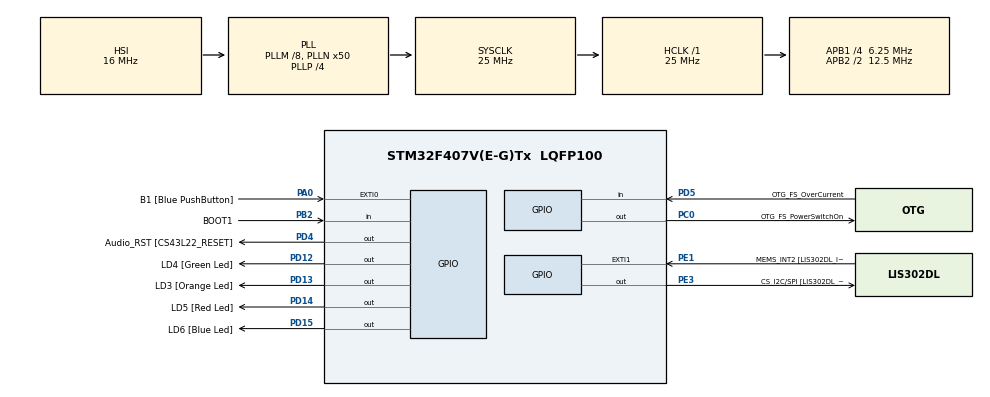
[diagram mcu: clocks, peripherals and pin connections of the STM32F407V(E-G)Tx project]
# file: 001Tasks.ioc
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Mcu.Family=STM32F4
Mcu.Name=STM32F407V(E-G)Tx
Mcu.Package=LQFP100
NVIC.PriorityGroup=NVIC_PRIORITYGROUP_4
NVIC.TIM6_DAC_IRQn=true\:0\:0\:false\:false\:true\:false\:true
NVIC.TimeBase=TIM6_DAC_IRQn
NVIC.TimeBaseIP=TIM6
PA0-WKUP.GPIO_Label=B1 [Blue PushButton]
PA0-WKUP.Signal=GPXTI0
PA10.GPIO_Label=OTG_FS_ID
PA10.GPIO_Mode=GPIO_MODE_AF_PP
PA10.GPIO_PuPd=GPIO_NOPULL
PA10.GPIO_Speed=GPIO_SPEED_FREQ_LOW
PA10.Signal=USB_OTG_FS_ID
PA11.GPIO_Label=OTG_FS_DM
PA11.GPIO_Mode=GPIO_MODE_AF_PP
PA11.GPIO_PuPd=GPIO_NOPULL
PA11.GPIO_Speed=GPIO_SPEED_FREQ_LOW
PA11.Signal=USB_OTG_FS_DM
PA12.GPIO_Label=OTG_FS_DP
PA12.GPIO_Mode=GPIO_MODE_AF_PP
PA12.GPIO_PuPd=GPIO_NOPULL
PA12.GPIO_Speed=GPIO_SPEED_FREQ_LOW
PA12.Signal=USB_OTG_FS_DP
PA13.GPIO_Label=SWDIO
PA13.Signal=SYS_JTMS-SWDIO
PA14.GPIO_Label=SWCLK
PA14.Signal=SYS_JTCK-SWCLK
PA4.GPIO_Label=I2S3_WS [CS43L22_LRCK]
PA4.GPIO_Mode=GPIO_MODE_AF_PP
PA4.GPIO_PuPd=GPIO_NOPULL
PA4.GPIO_Speed=GPIO_SPEED_FREQ_LOW
PA4.Signal=I2S3_WS
PA5.GPIO_Label=SPI1_SCK [LIS302DL_SCL/SPC]
PA5.GPIO_Mode=GPIO_MODE_AF_PP
PA5.GPIO_PuPd=GPIO_NOPULL
PA5.GPIO_Speed=GPIO_SPEED_FREQ_LOW
PA5.Signal=SPI1_SCK
PA6.GPIO_Label=SPI1_MISO [LIS302DL_SDO]
PA6.GPIO_Mode=GPIO_MODE_AF_PP
PA6.GPIO_PuPd=GPIO_NOPULL
PA6.GPIO_Speed=GPIO_SPEED_FREQ_LOW
PA6.Signal=SPI1_MISO
PA7.GPIO_Label=SPI1_MOSI [LIS302DL_SDA/SDI/SDO]
PA7.GPIO_Mode=GPIO_MODE_AF_PP
PA7.GPIO_PuPd=GPIO_NOPULL
PA7.GPIO_Speed=GPIO_SPEED_FREQ_LOW
PA7.Signal=SPI1_MOSI
PA9.GPIO_Label=VBUS_FS
PA9.GPIO_Mode=GPIO_MODE_INPUT
PA9.GPIO_PuPd=GPIO_NOPULL
PA9.Signal=USB_OTG_FS_VBUS
PB10.GPIO_Label=CLK_IN [MP45DT02_CLK]
PB10.GPIO_Mode=GPIO_MODE_AF_PP
PB10.GPIO_PuPd=GPIO_NOPULL
PB10.GPIO_Speed=GPIO_SPEED_FREQ_LOW
PB10.Signal=I2S2_CK
PB2.GPIO_Label=BOOT1
PB2.GPIO_Mode=GPIO_MODE_INPUT
PB2.GPIO_PuPd=GPIO_NOPULL
PB2.Signal=GPIO_Input
PB3.GPIO_Label=SWO
PB3.Signal=SYS_JTDO-SWO
PB6.GPIO_Label=Audio_SCL [CS43L22_SCL]
PB6.GPIO_Mode=GPIO_MODE_AF_OD
PB6.GPIO_PuPd=GPIO_NOPULL
PB6.GPIO_Speed=GPIO_SPEED_FREQ_LOW
PB6.Signal=I2C1_SCL
PB9.GPIO_Label=Audio_SDA [CS43L22_SDA]
PB9.GPIO_Mode=GPIO_MODE_AF_OD
PB9.GPIO_PuPd=GPIO_NOPULL
PB9.GPIO_Speed=GPIO_SPEED_FREQ_LOW
PB9.Signal=I2C1_SDA
PC0.GPIO_Label=OTG_FS_PowerSwitchOn
PC0.GPIO_PuPd=GPIO_NOPULL
PC0.GPIO_Speed=GPIO_SPEED_FREQ_LOW
PC0.PinState=GPIO_PIN_SET
PC0.Signal=GPIO_Output
PC10.GPIO_Label=I2S3_SCK [CS43L22_SCLK]
PC10.GPIO_Mode=GPIO_MODE_AF_PP
PC10.GPIO_PuPd=GPIO_NOPULL
PC10.GPIO_Speed=GPIO_SPEED_FREQ_LOW
PC10.Signal=I2S3_CK
PC12.GPIO_Label=I2S3_SD [CS43L22_SDIN]
PC12.GPIO_Mode=GPIO_MODE_AF_PP
PC12.GPIO_PuPd=GPIO_NOPULL
PC12.GPIO_Speed=GPIO_SPEED_FREQ_LOW
PC12.Signal=I2S3_SD
PC14-OSC32_IN.GPIO_Label=PC14-OSC32_IN
PC14-OSC32_IN.Signal=RCC_OSC32_IN
PC15-OSC32_OUT.GPIO_Label=PC15-OSC32_OUT
PC15-OSC32_OUT.Signal=RCC_OSC32_OUT
PC3.GPIO_Label=PDM_OUT [MP45DT02_DOUT]
PC3.GPIO_Mode=GPIO_MODE_AF_PP
PC3.GPIO_PuPd=GPIO_NOPULL
PC3.GPIO_Speed=GPIO_SPEED_FREQ_LOW
PC3.Signal=I2S2_SD
PC7.GPIO_Label=I2S3_MCK [CS43L22_MCLK]
PC7.GPIO_Mode=GPIO_MODE_AF_PP
PC7.GPIO_PuPd=GPIO_NOPULL
PC7.GPIO_Speed=GPIO_SPEED_FREQ_LOW
PC7.Signal=I2S3_MCK
PD12.GPIO_Label=LD4 [Green Led]
PD12.GPIO_PuPd=GPIO_NOPULL
PD12.GPIO_Speed=GPIO_SPEED_FREQ_LOW
PD12.Signal=GPIO_Output
PD13.GPIO_Label=LD3 [Orange Led]
PD13.GPIO_PuPd=GPIO_NOPULL
PD13.GPIO_Speed=GPIO_SPEED_FREQ_LOW
PD13.Signal=GPIO_Output
PD14.GPIO_Label=LD5 [Red Led]
PD14.GPIO_PuPd=GPIO_NOPULL
PD14.GPIO_Speed=GPIO_SPEED_FREQ_LOW
PD14.Signal=GPIO_Output
PD15.GPIO_Label=LD6 [Blue Led]
PD15.GPIO_PuPd=GPIO_NOPULL
PD15.GPIO_Speed=GPIO_SPEED_FREQ_LOW
PD15.Signal=GPIO_Output
PD4.GPIO_Label=Audio_RST [CS43L22_RESET]
PD4.GPIO_PuPd=GPIO_NOPULL
PD4.GPIO_Speed=GPIO_SPEED_FREQ_LOW
PD4.Signal=GPIO_Output
PD5.GPIO_Label=OTG_FS_OverCurrent
PD5.GPIO_Mode=GPIO_MODE_INPUT
PD5.GPIO_PuPd=GPIO_NOPULL
PD5.Signal=GPIO_Input
PE1.GPIO_Label=MEMS_INT2 [LIS302DL_INT2]
PE1.GPIO_ModeDefaultEXTI=GPIO_MODE_EVT_RISING
PE1.GPIO_PuPd=GPIO_NOPULL
PE1.Signal=GPXTI1
PE3.GPIO_Label=CS_I2C/SPI [LIS302DL_CS_I2C/SPI]
PE3.GPIO_PuPd=GPIO_NOPULL
PE3.GPIO_Speed=GPIO_SPEED_FREQ_LOW
PE3.Signal=GPIO_Output
PH0-OSC_IN.GPIO_Label=PH0-OSC_IN
PH0-OSC_IN.Signal=RCC_OSC_IN
PH1-OSC_OUT.GPIO_Label=PH1-OSC_OUT
PH1-OSC_OUT.Signal=RCC_OSC_OUT
ProjectManager.HeapSize=0x200
ProjectManager.StackSize=0x400
ProjectManager.TargetToolchain=STM32CubeIDE
RCC.48MHZClocksFreq_Value=14285714.285714285
RCC.AHBFreq_Value=25000000
RCC.APB1CLKDivider=RCC_HCLK_DIV4
RCC.APB1Freq_Value=6250000
RCC.APB1TimFreq_Value=12500000
RCC.APB2CLKDivider=RCC_HCLK_DIV2
RCC.APB2Freq_Value=12500000
RCC.APB2TimFreq_Value=25000000
RCC.CortexFreq_Value=25000000
RCC.HCLKFreq_Value=25000000
RCC.HSE_VALUE=8000000
RCC.HSI_VALUE=16000000
RCC.LSE_VALUE=32768
RCC.PLLM=8
RCC.PLLN=50
RCC.PLLP=RCC_PLLP_DIV4
RCC.PLLQ=7
RCC.SYSCLKFreq_VALUE=25000000
RCC.SYSCLKSource=RCC_SYSCLKSOURCE_PLLCLK
RCC.VCOOutputFreq_Value=100000000
VP_SYS_VS_tim6.Mode=TIM6
board=STM32F407G-DISC1

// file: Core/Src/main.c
/* USER CODE BEGIN Header */
/**
  ******************************************************************************
  * @file           : main.c
  * @brief          : Main program body
  ******************************************************************************
  * @attention
  *
  * <h2><center>&copy; Copyright (c) 2024 STMicroelectronics.
  * All rights reserved.</center></h2>
  *
  * This software component is licensed by ST under BSD 3-Clause license,
  * the "License"; You may not use this file except in compliance with the
  * License. You may obtain a copy of the License at:
  *                        opensource.org/licenses/BSD-3-Clause
  *
  ******************************************************************************
  */
/* USER CODE END Header */
#include "main.h"

/* USER CODE BEGIN Includes */
#include "FreeRTOS.h"
#include "task.h"
/* USER CODE END Includes */
#include <stdio.h>

/* USER CODE BEGIN PV */

#define DWT_CTRL  (*(volatile uint32_t*)0xE0001000)

/* USER CODE END PV */

void SystemClock_Config(void);
static void MX_GPIO_Init(void);
/* USER CODE BEGIN PFP */

static void task1_handler(void* parameters);
static void task2_handler(void* parameters);
/* USER CODE END PFP */

int main(void)
{
  /* USER CODE BEGIN 1 */
	TaskHandle_t task1_handle;
	TaskHandle_t task2_handle;

	BaseType_t status;
  /* USER CODE END 1 */

  /* MCU Configuration--------------------------------------------------------*/

  /* Reset of all peripherals, Initializes the Flash interface and the Systick. */
   HAL_Init();

  /* Configure the system clock */
  SystemClock_Config();

  /* Initialize all configured peripherals */
  MX_GPIO_Init();
  /* USER CODE BEGIN 2 */

  //Enable CYCCNT counter

  DWT_CTRL |= (1 << 0);

  SEGGER_SYSVIEW_Conf();
  SEGGER_SYSVIEW_Start();

  status =  xTaskCreate(task1_handler, "Task-1",200, "Hello World 1", 1, &task1_handle);

  configASSERT(status == pdPASS);

  status =  xTaskCreate(task2_handler, "Task-2",200, "Hello World 2", 1, &task2_handle);

  configASSERT(status == pdPASS);

  //Call to start the freeRTOS scheduler

  vTaskStartScheduler();

  //if the control comes here then the launch of the scheduler has failed due to insufficient memory in the heap.

  /* USER CODE END 2 */

  /* Infinite loop */
  while (1)
  {

  }
}

void SystemClock_Config(void)
{
  RCC_OscInitTypeDef RCC_OscInitStruct = {0};
  RCC_ClkInitTypeDef RCC_ClkInitStruct = {0};

  /** Configure the main internal regulator output voltage
  */
  __HAL_RCC_PWR_CLK_ENABLE();
  __HAL_PWR_VOLTAGESCALING_CONFIG(PWR_REGULATOR_VOLTAGE_SCALE1);
  /** Initializes the RCC Oscillators according to the specified parameters
  * in the RCC_OscInitTypeDef structure.
  */
  RCC_OscInitStruct.OscillatorType = RCC_OSCILLATORTYPE_HSI;
  RCC_OscInitStruct.HSIState = RCC_HSI_ON;
  RCC_OscInitStruct.HSICalibrationValue = RCC_HSICALIBRATION_DEFAULT;
  RCC_OscInitStruct.PLL.PLLState = RCC_PLL_ON;
  RCC_OscInitStruct.PLL.PLLSource = RCC_PLLSOURCE_HSI;
  RCC_OscInitStruct.PLL.PLLM = 8;
  RCC_OscInitStruct.PLL.PLLN = 50;
  RCC_OscInitStruct.PLL.PLLP = RCC_PLLP_DIV4;
  RCC_OscInitStruct.PLL.PLLQ = 7;
  if (HAL_RCC_OscConfig(&RCC_OscInitStruct) != HAL_OK)
  {
    Error_Handler();
  }
  /** Initializes the CPU, AHB and APB buses clocks
  */
  RCC_ClkInitStruct.ClockType = RCC_CLOCKTYPE_HCLK|RCC_CLOCKTYPE_SYSCLK
                              |RCC_CLOCKTYPE_PCLK1|RCC_CLOCKTYPE_PCLK2;
  RCC_ClkInitStruct.SYSCLKSource = RCC_SYSCLKSOURCE_PLLCLK;
  RCC_ClkInitStruct.AHBCLKDivider = RCC_SYSCLK_DIV1;
  RCC_ClkInitStruct.APB1CLKDivider = RCC_HCLK_DIV4;
  RCC_ClkInitStruct.APB2CLKDivider = RCC_HCLK_DIV2;

  if (HAL_RCC_ClockConfig(&RCC_ClkInitStruct, FLASH_LATENCY_0) != HAL_OK)
  {
    Error_Handler();
  }
}

static void MX_GPIO_Init(void)
{
  GPIO_InitTypeDef GPIO_InitStruct = {0};

  /* GPIO Ports Clock Enable */
  __HAL_RCC_GPIOE_CLK_ENABLE();
  __HAL_RCC_GPIOC_CLK_ENABLE();
  __HAL_RCC_GPIOH_CLK_ENABLE();
  __HAL_RCC_GPIOA_CLK_ENABLE();
  __HAL_RCC_GPIOB_CLK_ENABLE();
  __HAL_RCC_GPIOD_CLK_ENABLE();

  /*Configure GPIO pin Output Level */
  HAL_GPIO_WritePin(CS_I2C_SPI_GPIO_Port, CS_I2C_SPI_Pin, GPIO_PIN_RESET);

  /*Configure GPIO pin Output Level */
  HAL_GPIO_WritePin(OTG_FS_PowerSwitchOn_GPIO_Port, OTG_FS_PowerSwitchOn_Pin, GPIO_PIN_SET);

  /*Configure GPIO pin Output Level */
  HAL_GPIO_WritePin(GPIOD, LD4_Pin|LD3_Pin|LD5_Pin|LD6_Pin
                          |Audio_RST_Pin, GPIO_PIN_RESET);

  /*Configure GPIO pin : CS_I2C_SPI_Pin */
  GPIO_InitStruct.Pin = CS_I2C_SPI_Pin;
  GPIO_InitStruct.Mode = GPIO_MODE_OUTPUT_PP;
  GPIO_InitStruct.Pull = GPIO_NOPULL;
  GPIO_InitStruct.Speed = GPIO_SPEED_FREQ_LOW;
  HAL_GPIO_Init(CS_I2C_SPI_GPIO_Port, &GPIO_InitStruct);

  /*Configure GPIO pin : OTG_FS_PowerSwitchOn_Pin */
  GPIO_InitStruct.Pin = OTG_FS_PowerSwitchOn_Pin;
  GPIO_InitStruct.Mode = GPIO_MODE_OUTPUT_PP;
  GPIO_InitStruct.Pull = GPIO_NOPULL;
  GPIO_InitStruct.Speed = GPIO_SPEED_FREQ_LOW;
  HAL_GPIO_Init(OTG_FS_PowerSwitchOn_GPIO_Port, &GPIO_InitStruct);

  /*Configure GPIO pin : PDM_OUT_Pin */
  GPIO_InitStruct.Pin = PDM_OUT_Pin;
  GPIO_InitStruct.Mode = GPIO_MODE_AF_PP;
  GPIO_InitStruct.Pull = GPIO_NOPULL;
  GPIO_InitStruct.Speed = GPIO_SPEED_FREQ_LOW;
  GPIO_InitStruct.Alternate = GPIO_AF5_SPI2;
  HAL_GPIO_Init(PDM_OUT_GPIO_Port, &GPIO_InitStruct);

  /*Configure GPIO pin : B1_Pin */
  GPIO_InitStruct.Pin = B1_Pin;
  GPIO_InitStruct.Mode = GPIO_MODE_IT_RISING;
  GPIO_InitStruct.Pull = GPIO_NOPULL;
  HAL_GPIO_Init(B1_GPIO_Port, &GPIO_InitStruct);

  /*Configure GPIO pin : I2S3_WS_Pin */
  GPIO_InitStruct.Pin = I2S3_WS_Pin;
  GPIO_InitStruct.Mode = GPIO_MODE_AF_PP;
  GPIO_InitStruct.Pull = GPIO_NOPULL;
  GPIO_InitStruct.Speed = GPIO_SPEED_FREQ_LOW;
  GPIO_InitStruct.Alternate = GPIO_AF6_SPI3;
  HAL_GPIO_Init(I2S3_WS_GPIO_Port, &GPIO_InitStruct);

  /*Configure GPIO pins : SPI1_SCK_Pin SPI1_MISO_Pin SPI1_MOSI_Pin */
  GPIO_InitStruct.Pin = SPI1_SCK_Pin|SPI1_MISO_Pin|SPI1_MOSI_Pin;
  GPIO_InitStruct.Mode = GPIO_MODE_AF_PP;
  GPIO_InitStruct.Pull = GPIO_NOPULL;
  GPIO_InitStruct.Speed = GPIO_SPEED_FREQ_LOW;
  GPIO_InitStruct.Alternate = GPIO_AF5_SPI1;
  HAL_GPIO_Init(GPIOA, &GPIO_InitStruct);

  /*Configure GPIO pin : BOOT1_Pin */
  GPIO_InitStruct.Pin = BOOT1_Pin;
  GPIO_InitStruct.Mode = GPIO_MODE_INPUT;
  GPIO_InitStruct.Pull = GPIO_NOPULL;
  HAL_GPIO_Init(BOOT1_GPIO_Port, &GPIO_InitStruct);

  /*Configure GPIO pin : CLK_IN_Pin */
  GPIO_InitStruct.Pin = CLK_IN_Pin;
  GPIO_InitStruct.Mode = GPIO_MODE_AF_PP;
  GPIO_InitStruct.Pull = GPIO_NOPULL;
  GPIO_InitStruct.Speed = GPIO_SPEED_FREQ_LOW;
  GPIO_InitStruct.Alternate = GPIO_AF5_SPI2;
  HAL_GPIO_Init(CLK_IN_GPIO_Port, &GPIO_InitStruct);

  /*Configure GPIO pins : LD4_Pin LD3_Pin LD5_Pin LD6_Pin
                           Audio_RST_Pin */
  GPIO_InitStruct.Pin = LD4_Pin|LD3_Pin|LD5_Pin|LD6_Pin
                          |Audio_RST_Pin;
  GPIO_InitStruct.Mode = GPIO_MODE_OUTPUT_PP;
  GPIO_InitStruct.Pull = GPIO_NOPULL;
  GPIO_InitStruct.Speed = GPIO_SPEED_FREQ_LOW;
  HAL_GPIO_Init(GPIOD, &GPIO_InitStruct);

  /*Configure GPIO pins : I2S3_MCK_Pin I2S3_SCK_Pin I2S3_SD_Pin */
  GPIO_InitStruct.Pin = I2S3_MCK_Pin|I2S3_SCK_Pin|I2S3_SD_Pin;
  GPIO_InitStruct.Mode = GPIO_MODE_AF_PP;
  GPIO_InitStruct.Pull = GPIO_NOPULL;
  GPIO_InitStruct.Speed = GPIO_SPEED_FREQ_LOW;
  GPIO_InitStruct.Alternate = GPIO_AF6_SPI3;
  HAL_GPIO_Init(GPIOC, &GPIO_InitStruct);

  /*Configure GPIO pin : VBUS_FS_Pin */
  GPIO_InitStruct.Pin = VBUS_FS_Pin;
  GPIO_InitStruct.Mode = GPIO_MODE_INPUT;
  GPIO_InitStruct.Pull = GPIO_NOPULL;
  HAL_GPIO_Init(VBUS_FS_GPIO_Port, &GPIO_InitStruct);

  /*Configure GPIO pins : OTG_FS_ID_Pin OTG_FS_DM_Pin OTG_FS_DP_Pin */
  GPIO_InitStruct.Pin = OTG_FS_ID_Pin|OTG_FS_DM_Pin|OTG_FS_DP_Pin;
  GPIO_InitStruct.Mode = GPIO_MODE_AF_PP;
  GPIO_InitStruct.Pull = GPIO_NOPULL;
  GPIO_InitStruct.Speed = GPIO_SPEED_FREQ_LOW;
  GPIO_InitStruct.Alternate = GPIO_AF10_OTG_FS;
  HAL_GPIO_Init(GPIOA, &GPIO_InitStruct);

  /*Configure GPIO pin : OTG_FS_OverCurrent_Pin */
  GPIO_InitStruct.Pin = OTG_FS_OverCurrent_Pin;
  GPIO_InitStruct.Mode = GPIO_MODE_INPUT;
  GPIO_InitStruct.Pull = GPIO_NOPULL;
  HAL_GPIO_Init(OTG_FS_OverCurrent_GPIO_Port, &GPIO_InitStruct);

  /*Configure GPIO pins : Audio_SCL_Pin Audio_SDA_Pin */
  GPIO_InitStruct.Pin = Audio_SCL_Pin|Audio_SDA_Pin;
  GPIO_InitStruct.Mode = GPIO_MODE_AF_OD;
  GPIO_InitStruct.Pull = GPIO_NOPULL;
  GPIO_InitStruct.Speed = GPIO_SPEED_FREQ_LOW;
  GPIO_InitStruct.Alternate = GPIO_AF4_I2C1;
  HAL_GPIO_Init(GPIOB, &GPIO_InitStruct);

  /*Configure GPIO pin : MEMS_INT2_Pin */
  GPIO_InitStruct.Pin = MEMS_INT2_Pin;
  GPIO_InitStruct.Mode = GPIO_MODE_EVT_RISING;
  GPIO_InitStruct.Pull = GPIO_NOPULL;
  HAL_GPIO_Init(MEMS_INT2_GPIO_Port, &GPIO_InitStruct);

}

/* USER CODE BEGIN 4 */

static void task1_handler(void* parameters)
{
	char msg[100];
	while(1)
	{
		snprintf(msg,100,"%s\n", (char*)parameters);
		SEGGER_SYSVIEW_PrintfTarget(msg);
		taskYIELD();
	}
}

static void task2_handler(void* parameters)
{
	char msg[100];
	while(1)
	{
		snprintf(msg,100,"%s\n", (char*)parameters);
		SEGGER_SYSVIEW_PrintfTarget(msg);
		taskYIELD();
	}

}

/* USER CODE END 4 */

void HAL_TIM_PeriodElapsedCallback(TIM_HandleTypeDef *htim)
{
  if (htim->Instance == TIM6) {
    HAL_IncTick();
  }
}

void Error_Handler(void)
{
  __disable_irq();
  while (1)
  {
  }
}

/************************ (C) COPYRIGHT STMicroelectronics *****END OF FILE****/
